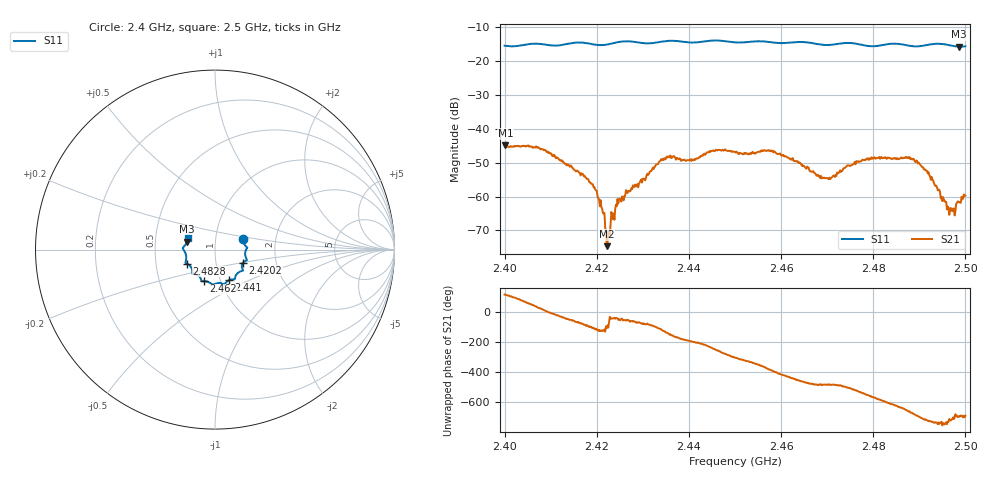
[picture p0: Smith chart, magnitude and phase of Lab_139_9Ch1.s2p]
# Hz S RI R 50
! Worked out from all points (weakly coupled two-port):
!   601 points, 2.4 GHz to 2.5 GHz, reference 50 ohm
!   highest |S21| = -44.93 dB at 2.4002 GHz (marker M1); lowest = -74.7 dB at 2.4222 GHz (marker M2)
!   lowest |S11| = -15.8 dB at 2.4987 GHz (marker M3), VSWR 1.39, Z = 36.3 + j3.26 ohm
!   |S11| at or under -10 dB: start of sweep to end of sweep
!   S12 and S22 are empty: the file has one direction only
!   S11 on the Smith chart (normalised r, x): 2.4 GHz: 1.36, +0.17; 2.4202 GHz: 1.35, -0.20; 2.441 GHz: 1.10, -0.39; 2.462 GHz: 0.83, -0.30; 2.4828 GHz: 0.72, -0.12; 2.5 GHz: 0.73, +0.09
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2.4e9  0.1569 0.0606  -0.00229 0.00505  0 0  0 0
2.400167e9  0.157 0.059  -0.00221 0.00522  0 0  0 0
2.407333e9  0.1793 0.00982  0.00469 0.00227  0 0  0 0
2.416667e9  0.1776 -0.0592  0.000439 -0.00216  0 0  0 0
2.420167e9  0.1566 -0.072  -0.000583 -0.000817  0 0  0 0
2.421167e9  0.1516 -0.0807  -0.000371 -0.000555  0 0  0 0
2.422167e9  0.1494 -0.0908  -6.03e-05 -0.000175  0 0  0 0
2.4225e9  0.1492 -0.0939  -8.01e-05 -0.000296  0 0  0 0
2.424667e9  0.1543 -0.1114  0.000474 -0.000628  0 0  0 0
2.433333e9  0.1125 -0.1519  -0.00103 -0.00284  0 0  0 0
2.441e9  0.0774 -0.1706  -0.00319 0.00126  0 0  0 0
2.45e9  0.0269 -0.1864  0.00265 0.00368  0 0  0 0
2.462e9  -0.0616 -0.176  0.000719 -0.00346  0 0  0 0
2.466667e9  -0.0774 -0.1673  -0.00117 -0.002  0 0  0 0
2.4705e9  -0.1008 -0.1402  -0.00111 -0.00154  0 0  0 0
2.4765e9  -0.126 -0.1274  -0.00323 -0.000738  0 0  0 0
2.482833e9  -0.158 -0.0778  -0.00165 0.00323  0 0  0 0
2.483333e9  -0.1608 -0.0765  -0.00144 0.00346  0 0  0 0
2.489833e9  -0.1632 -0.0249  0.00293 0.00124  0 0  0 0
2.4965e9  -0.1701 0.0204  0.000531 6.51e-05  0 0  0 0
2.498667e9  -0.1566 0.0437  0.000742 0.000373  0 0  0 0
2.5e9  -0.1531 0.062  0.000909 0.000491  0 0  0 0
